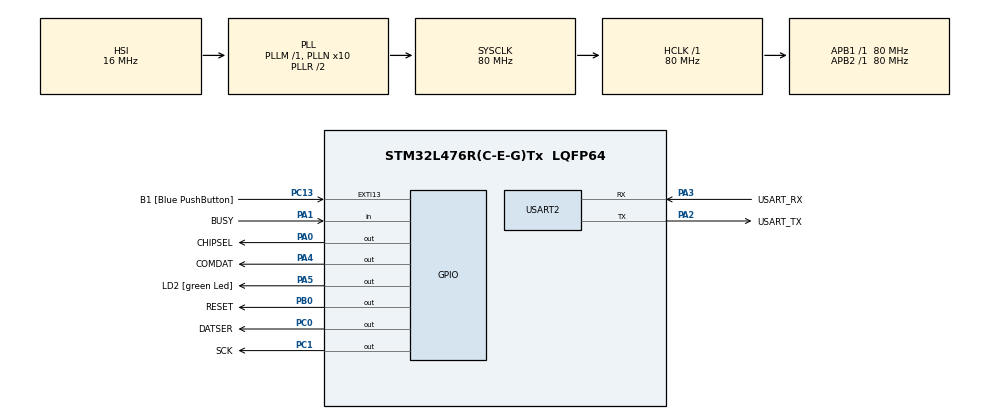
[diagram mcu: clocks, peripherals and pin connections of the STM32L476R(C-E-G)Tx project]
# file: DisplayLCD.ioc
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Mcu.Family=STM32L4
Mcu.Name=STM32L476R(C-E-G)Tx
Mcu.Package=LQFP64
NVIC.PriorityGroup=NVIC_PRIORITYGROUP_4
PA0.GPIO_Label=CHIPSEL
PA0.Signal=GPIO_Output
PA1.GPIO_Label=BUSY
PA1.Signal=GPIO_Input
PA13\ (JTMS-SWDIO).GPIO_Label=TMS
PA13\ (JTMS-SWDIO).Mode=Serial_Wire
PA13\ (JTMS-SWDIO).Signal=SYS_JTMS-SWDIO
PA14\ (JTCK-SWCLK).GPIO_Label=TCK
PA14\ (JTCK-SWCLK).Mode=Serial_Wire
PA14\ (JTCK-SWCLK).Signal=SYS_JTCK-SWCLK
PA2.GPIO_Label=USART_TX
PA2.GPIO_Mode=GPIO_MODE_AF_PP
PA2.GPIO_PuPd=GPIO_NOPULL
PA2.GPIO_Speed=GPIO_SPEED_FREQ_VERY_HIGH
PA2.Mode=Asynchronous
PA2.Signal=USART2_TX
PA3.GPIO_Label=USART_RX
PA3.GPIO_Mode=GPIO_MODE_AF_PP
PA3.GPIO_PuPd=GPIO_NOPULL
PA3.GPIO_Speed=GPIO_SPEED_FREQ_VERY_HIGH
PA3.Mode=Asynchronous
PA3.Signal=USART2_RX
PA4.GPIO_Label=COMDAT
PA4.Signal=GPIO_Output
PA5.GPIO_Label=LD2 [green Led]
PA5.GPIO_ModeDefaultOutputPP=GPIO_MODE_OUTPUT_PP
PA5.GPIO_PuPd=GPIO_NOPULL
PA5.GPIO_Speed=GPIO_SPEED_FREQ_LOW
PA5.Signal=GPIO_Output
PB0.GPIO_Label=RESET
PB0.Signal=GPIO_Output
PB3\ (JTDO-TRACESWO).GPIO_Label=SWO
PB3\ (JTDO-TRACESWO).Signal=SYS_JTDO-SWO
PC0.GPIO_Label=DATSER
PC0.Signal=GPIO_Output
PC1.GPIO_Label=SCK
PC1.Signal=GPIO_Output
PC13.GPIO_Label=B1 [Blue PushButton]
PC13.GPIO_ModeDefaultEXTI=GPIO_MODE_IT_FALLING
PC13.GPIO_PuPd=GPIO_NOPULL
PC13.Signal=GPXTI13
PC14-OSC32_IN\ (PC14).Mode=LSE-External-Oscillator
PC14-OSC32_IN\ (PC14).Signal=RCC_OSC32_IN
PC15-OSC32_OUT\ (PC15).Mode=LSE-External-Oscillator
PC15-OSC32_OUT\ (PC15).Signal=RCC_OSC32_OUT
PH0-OSC_IN\ (PH0).Signal=RCC_OSC_IN
PH1-OSC_OUT\ (PH1).Signal=RCC_OSC_OUT
ProjectManager.HeapSize=0x200
ProjectManager.StackSize=0x400
ProjectManager.TargetToolchain=STM32CubeIDE
RCC.ADCFreq_Value=64000000
RCC.AHBFreq_Value=80000000
RCC.APB1Freq_Value=80000000
RCC.APB1TimFreq_Value=80000000
RCC.APB2Freq_Value=80000000
RCC.APB2TimFreq_Value=80000000
RCC.CortexFreq_Value=80000000
RCC.HCLKFreq_Value=80000000
RCC.HSE_VALUE=8000000
RCC.HSI_VALUE=16000000
RCC.MSI_VALUE=4000000
RCC.PLLN=10
RCC.PLLSourceVirtual=RCC_PLLSOURCE_HSI
RCC.PREFETCH_ENABLE=1
RCC.SYSCLKFreq_VALUE=80000000
RCC.SYSCLKSource=RCC_SYSCLKSOURCE_PLLCLK
RCC.USBFreq_Value=64000000
RCC.VCOOutputFreq_Value=160000000
USART2.VirtualMode-Asynchronous=VM_ASYNC
board=NUCLEO-L476RG

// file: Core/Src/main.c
/* USER CODE BEGIN Header */
/**
  ******************************************************************************
  * @file           : main.c
  * @brief          : Main program body
  ******************************************************************************
  * @attention
  *
  * Copyright (c) 2023 STMicroelectronics.
  * All rights reserved.
  *
  * This software is licensed under terms that can be found in the LICENSE file
  * in the root directory of this software component.
  * If no LICENSE file comes with this software, it is provided AS-IS.
  *
  ******************************************************************************
  */
/* USER CODE END Header */
#include "main.h"

UART_HandleTypeDef huart2;

void SystemClock_Config(void);
static void MX_GPIO_Init(void);
static void MX_USART2_UART_Init(void);

/* USER CODE BEGIN PFP */

void LCD_enviarByte (uint8_t comando, uint8_t byte);
void LCD_inicializacion (int banco, int entrada_caracteres);
void LCD_ocupado (void);
void LCD_displayOFF (int mode);

/* USER CODE END PFP */

/* USER CODE BEGIN 0 */

/***********************************************************************
 * mode: será 0 si queremos apagarlo y 1 si queremos encenderlo
 ***********************************************************************/
void LCD_display_ON_OFF (int mode)
{
  if (mode == 0) {
    HAL_GPIO_WritePin(RESET_GPIO_Port, RESET_Pin, GPIO_PIN_SET);
  } else if (mode == 1) {
    HAL_GPIO_WritePin(RESET_GPIO_Port, RESET_Pin, GPIO_PIN_RESET);
  }
}

/***********************************************************************
 * comando: será 1 si lo que se va a enviar al display es un comando
 * será 0 si lo que se va a enviar al display es un dato
 * byte: el comando o dato respectivo
 ***********************************************************************/
void LCD_enviarByte(uint8_t comando, uint8_t byte)
{
  // Ponemos pin CHIPSEL a nivel bajo mientras enviamos comandos
	HAL_GPIO_WritePin(CHIPSEL_GPIO_Port, CHIPSEL_Pin, GPIO_PIN_RESET);

	// IMPORTANTE !! comprobar si está ocupado antes de enviar
	LCD_ocupado();

	// Comprobamos si se le envía comando o dato
	if (comando) {
		// Activamos pin para recepción de comando
		HAL_GPIO_WritePin(COMDAT_GPIO_Port, COMDAT_Pin, GPIO_PIN_SET);

	} else {
		// Activamos pin para recepción de dato
		HAL_GPIO_WritePin(COMDAT_GPIO_Port, COMDAT_Pin, GPIO_PIN_RESET);
	}

	// Enviamos comando o dato (bit a bit)

	for (int i = 1; i <= 8; i++) {
		// Aplicamos máscara para quedarnos con el msb

		if (byte & 0x80) {   // bit a 1
			HAL_GPIO_WritePin(DATSER_GPIO_Port, DATSER_Pin, GPIO_PIN_SET);
		} else {   // bit a 0
			HAL_GPIO_WritePin(DATSER_GPIO_Port, DATSER_Pin, GPIO_PIN_RESET);
		}

		HAL_GPIO_WritePin(SCK_GPIO_Port, SCK_Pin, GPIO_PIN_RESET);
		HAL_Delay(10);
		HAL_GPIO_WritePin(SCK_GPIO_Port, SCK_Pin, GPIO_PIN_SET);
		HAL_Delay(10);

		byte <<= 1;
	}

	// Ponemos pin CHIPSEL a nivel alto al finalizar el envío de comandos
	HAL_GPIO_WritePin(CHIPSEL_GPIO_Port, CHIPSEL_Pin, GPIO_PIN_SET);
}

/***********************************************************************
 * banco: sobre el cual se va a escribir por lo general el BANCO0
 * entrada_caracteres: si entran por la izquierda (0) o por la derecha (1)
 * al display. Por lo general comando SCMR.
 * La secuencia de incialización de comandos será:
 * Alimentar Display, SFF, BANCO, DISPLAYON, SCMR
 ***********************************************************************/
void LCD_inicializacion(int banco, int entrada_caracteres)
{
  //Configuramos marco de frecuencia
  LCD_enviarByte(COMMAND, SFF);

  // Habilitamos banco: 0 -> banco 0;  1 -> banco 1;  2 -> bancos 0 y 1 (Todos en SYNC OUTPUT)
  // *** DUDA: usar banco0 = 0x1A y banco1= 0x1B ó ambos=0x1F *** //
  if (banco == 0) {
    LCD_enviarByte(COMMAND, BANCO0);
  }

  if (banco == 1) {
    LCD_enviarByte(COMMAND, BANCO1);
  }

  if (banco == 2) {
    LCD_enviarByte(COMMAND, BANCO_0_1);
  }

  // Encendemos display
  LCD_enviarByte(COMMAND, DISP_ON);

  LCD_enviarByte(COMMAND, SANDM);

  // Habilitamos escritura por la derecha
  if (entrada_caracteres == 0) {
    LCD_enviarByte(COMMAND, SCML);
  }

  if (entrada_caracteres == 1) {
    LCD_enviarByte(COMMAND, SCMR);
  }
}

/***********************************************************************
 * detectar si el display admite comandos o datos comprobando la
 * señal BUSY
 ***********************************************************************/
void LCD_ocupado(void)
{
	while (!HAL_GPIO_ReadPin(BUSY_GPIO_Port, BUSY_Pin));   // GPIO_PIN_1 = BUSY_Pin
}

/* USER CODE END 0 */

int main(void)
{

  /* MCU Configuration--------------------------------------------------------*/

  /* Reset of all peripherals, Initializes the Flash interface and the Systick. */
  HAL_Init();

  /* Configure the system clock */
  SystemClock_Config();

  /* Initialize all configured peripherals */
  MX_GPIO_Init();
  MX_USART2_UART_Init();
  /* USER CODE BEGIN 2 */

  LCD_display_ON_OFF(0);
  HAL_Delay(3000);
  LCD_display_ON_OFF(1);

  LCD_inicializacion(2, 1);

  /* USER CODE END 2 */

  /* Infinite loop */
  while (1)
  {

	  // Enviamos cadena como dato (DATA)
	  HAL_Delay(10);
	  LCD_enviarByte(DATA, 'A');
	  HAL_Delay(10);
	  LCD_enviarByte(DATA, 'L');
	  HAL_Delay(10);
	  LCD_enviarByte(DATA, 'O');
	  HAL_Delay(10);
	  LCD_enviarByte(DATA, 'H');

  }
}

void SystemClock_Config(void)
{
  RCC_OscInitTypeDef RCC_OscInitStruct = {0};
  RCC_ClkInitTypeDef RCC_ClkInitStruct = {0};

  /** Configure the main internal regulator output voltage
  */
  if (HAL_PWREx_ControlVoltageScaling(PWR_REGULATOR_VOLTAGE_SCALE1) != HAL_OK)
  {
    Error_Handler();
  }

  /** Initializes the RCC Oscillators according to the specified parameters
  * in the RCC_OscInitTypeDef structure.
  */
  RCC_OscInitStruct.OscillatorType = RCC_OSCILLATORTYPE_HSI;
  RCC_OscInitStruct.HSIState = RCC_HSI_ON;
  RCC_OscInitStruct.HSICalibrationValue = RCC_HSICALIBRATION_DEFAULT;
  RCC_OscInitStruct.PLL.PLLState = RCC_PLL_ON;
  RCC_OscInitStruct.PLL.PLLSource = RCC_PLLSOURCE_HSI;
  RCC_OscInitStruct.PLL.PLLM = 1;
  RCC_OscInitStruct.PLL.PLLN = 10;
  RCC_OscInitStruct.PLL.PLLP = RCC_PLLP_DIV7;
  RCC_OscInitStruct.PLL.PLLQ = RCC_PLLQ_DIV2;
  RCC_OscInitStruct.PLL.PLLR = RCC_PLLR_DIV2;
  if (HAL_RCC_OscConfig(&RCC_OscInitStruct) != HAL_OK)
  {
    Error_Handler();
  }

  /** Initializes the CPU, AHB and APB buses clocks
  */
  RCC_ClkInitStruct.ClockType = RCC_CLOCKTYPE_HCLK|RCC_CLOCKTYPE_SYSCLK
                              |RCC_CLOCKTYPE_PCLK1|RCC_CLOCKTYPE_PCLK2;
  RCC_ClkInitStruct.SYSCLKSource = RCC_SYSCLKSOURCE_PLLCLK;
  RCC_ClkInitStruct.AHBCLKDivider = RCC_SYSCLK_DIV1;
  RCC_ClkInitStruct.APB1CLKDivider = RCC_HCLK_DIV1;
  RCC_ClkInitStruct.APB2CLKDivider = RCC_HCLK_DIV1;

  if (HAL_RCC_ClockConfig(&RCC_ClkInitStruct, FLASH_LATENCY_4) != HAL_OK)
  {
    Error_Handler();
  }
}

static void MX_USART2_UART_Init(void)
{

  huart2.Instance = USART2;
  huart2.Init.BaudRate = 115200;
  huart2.Init.WordLength = UART_WORDLENGTH_8B;
  huart2.Init.StopBits = UART_STOPBITS_1;
  huart2.Init.Parity = UART_PARITY_NONE;
  huart2.Init.Mode = UART_MODE_TX_RX;
  huart2.Init.HwFlowCtl = UART_HWCONTROL_NONE;
  huart2.Init.OverSampling = UART_OVERSAMPLING_16;
  huart2.Init.OneBitSampling = UART_ONE_BIT_SAMPLE_DISABLE;
  huart2.AdvancedInit.AdvFeatureInit = UART_ADVFEATURE_NO_INIT;
  if (HAL_UART_Init(&huart2) != HAL_OK)
  {
    Error_Handler();
  }

}

static void MX_GPIO_Init(void)
{
  GPIO_InitTypeDef GPIO_InitStruct = {0};

  /* GPIO Ports Clock Enable */
  __HAL_RCC_GPIOC_CLK_ENABLE();
  __HAL_RCC_GPIOH_CLK_ENABLE();
  __HAL_RCC_GPIOA_CLK_ENABLE();
  __HAL_RCC_GPIOB_CLK_ENABLE();

  /*Configure GPIO pin Output Level */
  HAL_GPIO_WritePin(GPIOC, DATSER_Pin|SCK_Pin, GPIO_PIN_RESET);

  /*Configure GPIO pin Output Level */
  HAL_GPIO_WritePin(GPIOA, CHIPSEL_Pin|COMDAT_Pin|LD2_Pin, GPIO_PIN_RESET);

  /*Configure GPIO pin Output Level */
  HAL_GPIO_WritePin(RESET_GPIO_Port, RESET_Pin, GPIO_PIN_RESET);

  /*Configure GPIO pin : B1_Pin */
  GPIO_InitStruct.Pin = B1_Pin;
  GPIO_InitStruct.Mode = GPIO_MODE_IT_FALLING;
  GPIO_InitStruct.Pull = GPIO_NOPULL;
  HAL_GPIO_Init(B1_GPIO_Port, &GPIO_InitStruct);

  /*Configure GPIO pins : DATSER_Pin SCK_Pin */
  GPIO_InitStruct.Pin = DATSER_Pin|SCK_Pin;
  GPIO_InitStruct.Mode = GPIO_MODE_OUTPUT_PP;
  GPIO_InitStruct.Pull = GPIO_NOPULL;
  GPIO_InitStruct.Speed = GPIO_SPEED_FREQ_LOW;
  HAL_GPIO_Init(GPIOC, &GPIO_InitStruct);

  /*Configure GPIO pins : CHIPSEL_Pin COMDAT_Pin LD2_Pin */
  GPIO_InitStruct.Pin = CHIPSEL_Pin|COMDAT_Pin|LD2_Pin;
  GPIO_InitStruct.Mode = GPIO_MODE_OUTPUT_PP;
  GPIO_InitStruct.Pull = GPIO_NOPULL;
  GPIO_InitStruct.Speed = GPIO_SPEED_FREQ_LOW;
  HAL_GPIO_Init(GPIOA, &GPIO_InitStruct);

  /*Configure GPIO pin : BUSY_Pin */
  GPIO_InitStruct.Pin = BUSY_Pin;
  GPIO_InitStruct.Mode = GPIO_MODE_INPUT;
  GPIO_InitStruct.Pull = GPIO_NOPULL;
  HAL_GPIO_Init(BUSY_GPIO_Port, &GPIO_InitStruct);

  /*Configure GPIO pin : RESET_Pin */
  GPIO_InitStruct.Pin = RESET_Pin;
  GPIO_InitStruct.Mode = GPIO_MODE_OUTPUT_PP;
  GPIO_InitStruct.Pull = GPIO_NOPULL;
  GPIO_InitStruct.Speed = GPIO_SPEED_FREQ_LOW;
  HAL_GPIO_Init(RESET_GPIO_Port, &GPIO_InitStruct);

}

void Error_Handler(void)
{
  __disable_irq();
  while (1)
  {
  }
}
